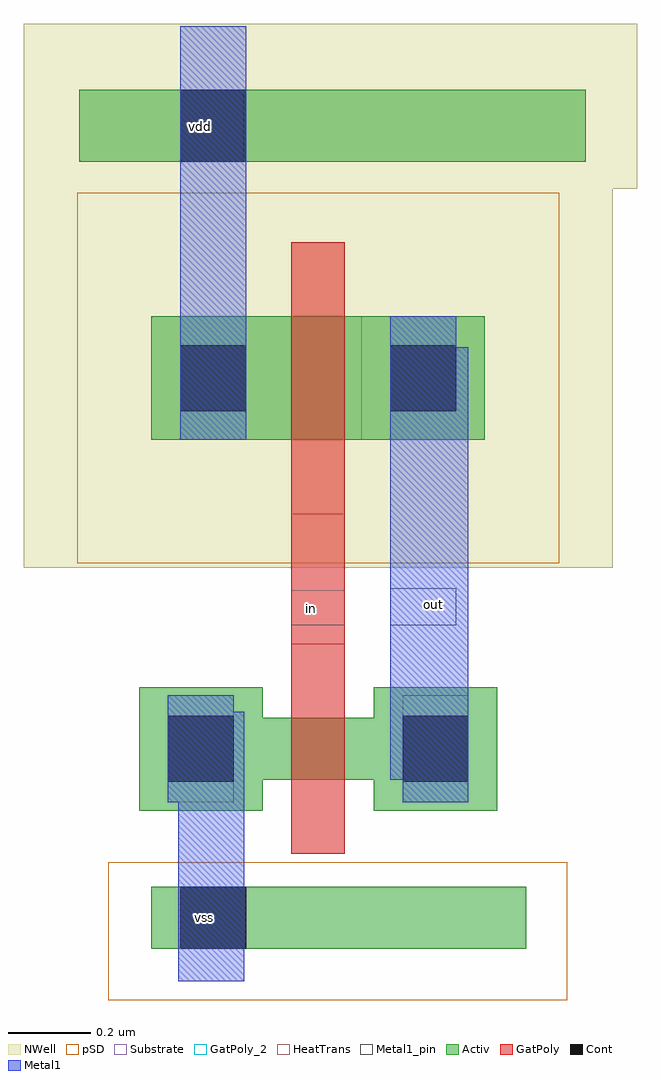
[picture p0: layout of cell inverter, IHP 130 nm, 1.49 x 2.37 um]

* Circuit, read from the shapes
.subckt inverter in out vdd vss
XM1 out in vss vss sg13_lv_nmos w=0.15u l=0.13u
XM2 out in vdd vdd sg13_lv_pmos w=0.3u l=0.13u
.ends

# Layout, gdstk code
import gdstk
lib = gdstk.Library(unit=1e-6, precision=5e-09)
def R(c, l, rs):  # rectangles x0, y0, x1, y1
    for r in rs: c.add(gdstk.rectangle(r[:2], r[2:], *l))
Activ = (1, 0)
GatPoly = (5, 0)
GatPoly_2 = (5, 2)
Cont = (6, 0)
Metal1 = (8, 0)
Metal1_pin = (8, 2)
pSD = (14, 0)
NWell = (31, 0)
Substrate = (40, 0)
HeatTrans = (51, 0)

pmos_1 = lib.new_cell('pmos$1')
R(pmos_1, Activ, [(0,0,0.3,0.3), (0,0,0.81,0.3), (0.51,0,0.81,0.3)])
R(pmos_1, GatPoly, [(0.34,-0.18,0.47,0.48), (0.34,-0.18,0.47,0.48)])
R(pmos_1, Cont, [(0.07,0.07,0.23,0.23), (0.58,0.07,0.74,0.23)])
R(pmos_1, Metal1, [(0.07,0,0.23,0.3), (0.07,0,0.23,0.3), (0.58,0,0.74,0.3), (0.58,0,0.74,0.3)])
R(pmos_1, pSD, [(-0.18,-0.3,0.99,0.6)])
R(pmos_1, NWell, [(-0.31,-0.31,1.12,0.61)])
R(pmos_1, Substrate, [(0.51,0,0.81,0.3)])
R(pmos_1, HeatTrans, [(0.34,-0.18,0.47,0.48)])
pmos_1.add(gdstk.Label('pmos', (0.405,0.15), layer=63, texttype=0))
pmos_1.add(gdstk.Label('pmos', (0.405,0.15), layer=51, texttype=0))

nmos = lib.new_cell('nmos')
R(nmos, Activ, [(0,0,0.3,0.3), (0.57,0,0.87,0.3), (0,0.075,0.87,0.225)])
R(nmos, GatPoly, [(0.37,-0.105,0.5,0.405)])
R(nmos, GatPoly_2, [(0.37,-0.105,0.5,0.405)])
R(nmos, Cont, [(0.07,0.07,0.23,0.23), (0.64,0.07,0.8,0.23)])
R(nmos, Metal1, [(0.07,0.02,0.23,0.28), (0.64,0.02,0.8,0.28)])
R(nmos, Metal1_pin, [(0.07,0.02,0.23,0.28), (0.64,0.02,0.8,0.28)])
R(nmos, HeatTrans, [(0.37,-0.105,0.5,0.405)])
nmos.add(gdstk.Label('nmos', (0.435,0.15), layer=63, texttype=0))
nmos.add(gdstk.Label('nmos', (0.435,0.15), layer=51, texttype=0))

inverter = lib.new_cell('inverter')
R(inverter, Activ, [(-0.225,-1.105,0.685,-0.955), (-0.4,0.805,0.83,0.98)])
R(inverter, GatPoly, [(0.115,-0.875,0.245,-0.42), (0.115,-0.42,0.245,-0.04)])
R(inverter, GatPoly_2, [(0.115,-0.32,0.245,-0.235)])
R(inverter, Cont, [(-0.155,-1.105,0.005,-0.955), (-0.155,0.805,0.005,0.98)])
R(inverter, Metal1, [(-0.16,-1.185,0,-0.53), (0.355,-0.695,0.545,0.355), (-0.155,0.21,0.005,1.135)])
R(inverter, Metal1_pin, [(-0.155,-1.105,0.005,-0.955), (0.355,-0.32,0.515,-0.23), (-0.155,0.805,0,0.98)])
R(inverter, pSD, [(-0.33,-1.23,0.785,-0.895)])
R(inverter, NWell, [(-0.535,0.74,0.955,1.14)])
inverter.add(gdstk.Reference(pmos_1, (-0.225,0.13)))
inverter.add(gdstk.Reference(nmos, (-0.255,-0.77)))
inverter.add(gdstk.Label('vss', (-0.095,-1.03), layer=8, texttype=2))
inverter.add(gdstk.Label('vdd', (-0.105,0.89), layer=8, texttype=2))
inverter.add(gdstk.Label('out', (0.46,-0.27), layer=8, texttype=2))
inverter.add(gdstk.Label('in', (0.165,-0.28), layer=5, texttype=2))

lib.write_gds('inverter.gds')
